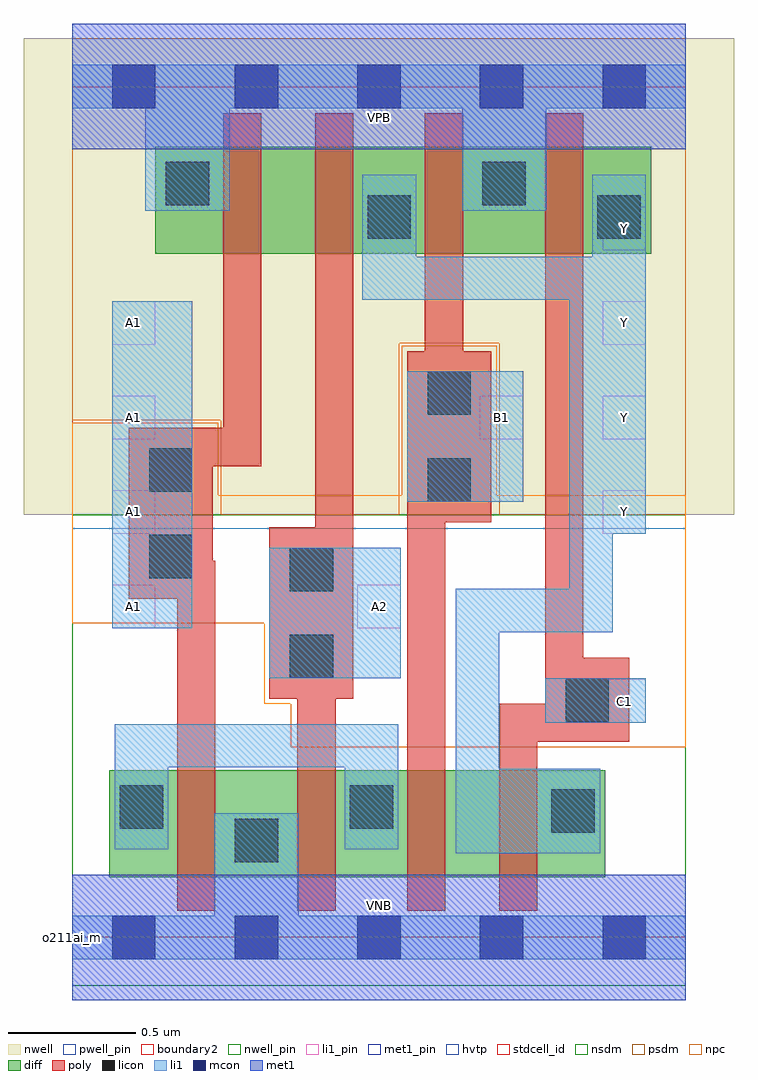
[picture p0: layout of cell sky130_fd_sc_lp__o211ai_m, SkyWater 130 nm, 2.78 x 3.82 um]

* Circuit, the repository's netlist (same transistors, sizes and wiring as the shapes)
* Copyright 2020 The SkyWater PDK Authors
*
* Licensed under the Apache License, Version 2.0 (the "License");
* you may not use this file except in compliance with the License.
* You may obtain a copy of the License at
*
*     https://www.apache.org/licenses/LICENSE-2.0
*
* Unless required by applicable law or agreed to in writing, software
* distributed under the License is distributed on an "AS IS" BASIS,
* WITHOUT WARRANTIES OR CONDITIONS OF ANY KIND, either express or implied.
* See the License for the specific language governing permissions and
* limitations under the License.
*
* SPDX-License-Identifier: Apache-2.0

.SUBCKT sky130_fd_sc_lp__o211ai_m A1 A2 B1 C1 VGND VNB VPB VPWR Y
*.PININFO A1:I A2:I B1:I C1:I VGND:I VNB:I VPB:I VPWR:I Y:O
MMPA0 VPWR A1 sndA1 VPB sky130_fd_pr__pfet_01v8_hvt m=1 w=0.42U l=0.15U mult=1
+ sa=0.265 sb=0.265 sd=0.28 area=0.063 perim=1.14
MMPA1 sndA1 A2 Y VPB sky130_fd_pr__pfet_01v8_hvt m=1 w=0.42U l=0.15U mult=1 sa=0.265
+ sb=0.265 sd=0.28 area=0.063 perim=1.14
MMPB0 VPWR B1 Y VPB sky130_fd_pr__pfet_01v8_hvt m=1 w=0.42U l=0.15U mult=1 sa=0.265
+ sb=0.265 sd=0.28 area=0.063 perim=1.14
MMPC0 VPWR C1 Y VPB sky130_fd_pr__pfet_01v8_hvt m=1 w=0.42U l=0.15U mult=1 sa=0.265
+ sb=0.265 sd=0.28 area=0.063 perim=1.14
MMNA0 pndA A1 VGND VNB sky130_fd_pr__nfet_01v8 m=1 w=0.42U l=0.15U mult=1 sa=0.265
+ sb=0.265 sd=0.28 area=0.063 perim=1.14
MMNA1 pndA A2 VGND VNB sky130_fd_pr__nfet_01v8 m=1 w=0.42U l=0.15U mult=1 sa=0.265
+ sb=0.265 sd=0.28 area=0.063 perim=1.14
MMNB0 pndB B1 pndA VNB sky130_fd_pr__nfet_01v8 m=1 w=0.42U l=0.15U mult=1 sa=0.265
+ sb=0.265 sd=0.28 area=0.063 perim=1.14
MMNC0 Y C1 pndB VNB sky130_fd_pr__nfet_01v8 m=1 w=0.42U l=0.15U mult=1 sa=0.265
+ sb=0.265 sd=0.28 area=0.063 perim=1.14
.ENDS sky130_fd_sc_lp__o211ai_m

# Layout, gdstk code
import gdstk
lib = gdstk.Library(unit=1e-6, precision=1e-09)
def R(c, l, rs):  # rectangles x0, y0, x1, y1
    for r in rs: c.add(gdstk.rectangle(r[:2], r[2:], *l))
def A(c, l, x, y, w, h, nx, ny, dx, dy):  # array of equal rectangles
    R(c, l, [(x+i*dx, y+j*dy, x+i*dx+w, y+j*dy+h) for i in range(nx) for j in range(ny)])
def P(c, l, *ps):  # polygons
    for p in ps: c.add(gdstk.Polygon(p, *l))
nwell_pin = (64, 16)
nwell = (64, 20)
diff = (65, 20)
poly = (66, 20)
licon = (66, 44)
li1_pin = (67, 16)
li1 = (67, 20)
mcon = (67, 44)
met1_pin = (68, 16)
met1 = (68, 20)
hvtp = (78, 44)
stdcell_id = (81, 4)
nsdm = (93, 44)
psdm = (94, 20)
npc = (95, 20)
pwell_pin = (122, 16)
boundary2 = (236, 0)

sky130_fd_sc_lp__o211ai_ = lib.new_cell('sky130_fd_sc_lp__o211ai_m')
R(sky130_fd_sc_lp__o211ai_, nwell_pin, [(0,3.085,2.4,3.33)])
R(sky130_fd_sc_lp__o211ai_, nwell, [(-0.19,1.655,2.59,3.52)])
R(sky130_fd_sc_lp__o211ai_, diff, [(0.145,0.235,2.085,0.655), (0.325,2.675,2.265,3.095)])
P(sky130_fd_sc_lp__o211ai_, poly, [(0.74,3.225),(0.59,3.225),(0.59,1.995),(0.22,1.995),(0.22,1.325),(0.41,1.325),(0.41,0.105),(0.56,0.105),(0.56,1.475),(0.55,1.475),(0.55,1.845),(0.74,1.845)],
  [(1.1,3.225),(0.95,3.225),(0.95,1.605),(0.77,1.605),(0.77,0.935),(0.88,0.935),(0.88,0.105),(1.03,0.105),(1.03,0.935),(1.1,0.935)],
  [(1.64,2.295),(1.53,2.295),(1.53,3.225),(1.38,3.225),(1.38,2.295),(1.31,2.295),(1.31,0.105),(1.46,0.105),(1.46,1.625),(1.64,1.625)],
  [(2.18,1.095),(2,1.095),(2,3.225),(1.85,3.225),(1.85,0.915),(1.67,0.915),(1.67,0.105),(1.82,0.105),(1.82,0.765),(2.18,0.765)])
R(sky130_fd_sc_lp__o211ai_, licon, [(0.635,0.295,0.805,0.465), (1.875,0.41,2.045,0.58), (0.185,0.425,0.355,0.595), (1.085,0.425,1.255,0.595), (1.93,0.845,2.1,1.015), (0.85,1.015,1.02,1.185), (0.85,1.355,1.02,1.525), (0.3,1.405,0.47,1.575), (1.39,1.705,1.56,1.875), (0.3,1.745,0.47,1.915), (1.39,2.045,1.56,2.215), (1.155,2.735,1.325,2.905), (2.055,2.735,2.225,2.905), (0.365,2.865,0.535,3.035), (1.605,2.865,1.775,3.035)])
A(sky130_fd_sc_lp__o211ai_, li1_pin, 0.155, 1.21, 0.17, 0.17, 1, 4, 0, 0.37)
A(sky130_fd_sc_lp__o211ai_, li1_pin, 2.075, 1.58, 0.17, 0.17, 1, 4, 0, 0.37)
R(sky130_fd_sc_lp__o211ai_, li1_pin, [(2.075,0.84,2.245,1.01), (1.115,1.21,1.285,1.38), (1.595,1.95,1.765,2.12)])
R(sky130_fd_sc_lp__o211ai_, li1, [(1.85,0.84,2.245,1.015), (0.77,1.015,1.285,1.525), (0.155,1.21,0.47,2.49), (1.31,1.705,1.765,2.215)])
P(sky130_fd_sc_lp__o211ai_, li1, [(0.285,2.845),(0.285,3.245),(0,3.245),(0,3.415),(2.4,3.415),(2.4,3.245),(1.855,3.245),(1.855,2.845),(1.525,2.845),(1.525,3.245),(0.615,3.245),(0.615,2.845)],
  [(0.555,0.085),(0.555,0.485),(0.885,0.485),(0.885,0.085),(2.4,0.085),(2.4,-0.085),(0,-0.085),(0,0.085)],
  [(2.035,2.665),(2.035,2.985),(2.245,2.985),(2.245,1.58),(2.115,1.58),(2.115,1.195),(1.67,1.195),(1.67,0.66),(2.065,0.66),(2.065,0.33),(1.5,0.33),(1.5,1.365),(1.945,1.365),(1.945,2.495),(1.135,2.495),(1.135,2.985),(1.345,2.985),(1.345,2.665)],
  [(1.065,0.665),(0.375,0.665),(0.375,0.345),(0.165,0.345),(0.165,0.835),(1.275,0.835),(1.275,0.345),(1.065,0.345)])
A(sky130_fd_sc_lp__o211ai_, mcon, 0.155, -0.085, 0.17, 0.17, 5, 2, 0.48, 3.33)
R(sky130_fd_sc_lp__o211ai_, met1_pin, [(0,0,2.4,0.245), (0,3.085,2.4,3.33)])
R(sky130_fd_sc_lp__o211ai_, met1, [(0,-0.245,2.4,0.245), (0,3.085,2.4,3.575)])
R(sky130_fd_sc_lp__o211ai_, hvtp, [(0,1.6,2.4,3.33)])
R(sky130_fd_sc_lp__o211ai_, stdcell_id, [(0,0,2.4,3.33)])
R(sky130_fd_sc_lp__o211ai_, nsdm, [(0,-0.19,2.4,1.655)])
P(sky130_fd_sc_lp__o211ai_, psdm, [(2.4,3.52),(0,3.52),(0,2.025),(0.58,2.025),(0.58,1.655),(1.28,1.655),(1.28,2.325),(1.67,2.325),(1.67,1.655),(2.4,1.655)])
P(sky130_fd_sc_lp__o211ai_, npc, [(2.4,1.73),(1.66,1.73),(1.66,2.315),(1.29,2.315),(1.29,1.73),(0.57,1.73),(0.57,2.015),(0,2.015),(0,1.23),(0.75,1.23),(0.75,0.915),(0.855,0.915),(0.855,0.745),(2.4,0.745)])
R(sky130_fd_sc_lp__o211ai_, pwell_pin, [(0,0,2.4,0.245)])
R(sky130_fd_sc_lp__o211ai_, boundary2, [(0,0,2.4,3.33)])
sky130_fd_sc_lp__o211ai_.add(gdstk.Label('VNB', (1.2,0.123), layer=64, texttype=59))
sky130_fd_sc_lp__o211ai_.add(gdstk.Label('VPB', (1.2,3.208), layer=64, texttype=5))
sky130_fd_sc_lp__o211ai_.add(gdstk.Label('o211ai_m', (0,0), layer=83, texttype=44))
sky130_fd_sc_lp__o211ai_.add(gdstk.Label('VPWR', (1.2,3.208), layer=68, texttype=5))
sky130_fd_sc_lp__o211ai_.add(gdstk.Label('VGND', (1.2,0.123), layer=68, texttype=5))
sky130_fd_sc_lp__o211ai_.add(gdstk.Label('A2', (1.2,1.295), layer=67, texttype=5))
sky130_fd_sc_lp__o211ai_.add(gdstk.Label('Y', (2.16,1.665), layer=67, texttype=5))
sky130_fd_sc_lp__o211ai_.add(gdstk.Label('Y', (2.16,2.035), layer=67, texttype=5))
sky130_fd_sc_lp__o211ai_.add(gdstk.Label('Y', (2.16,2.405), layer=67, texttype=5))
sky130_fd_sc_lp__o211ai_.add(gdstk.Label('Y', (2.16,2.775), layer=67, texttype=5))
sky130_fd_sc_lp__o211ai_.add(gdstk.Label('C1', (2.16,0.925), layer=67, texttype=5))
sky130_fd_sc_lp__o211ai_.add(gdstk.Label('A1', (0.24,1.295), layer=67, texttype=5))
sky130_fd_sc_lp__o211ai_.add(gdstk.Label('A1', (0.24,1.665), layer=67, texttype=5))
sky130_fd_sc_lp__o211ai_.add(gdstk.Label('A1', (0.24,2.035), layer=67, texttype=5))
sky130_fd_sc_lp__o211ai_.add(gdstk.Label('A1', (0.24,2.405), layer=67, texttype=5))
sky130_fd_sc_lp__o211ai_.add(gdstk.Label('B1', (1.68,2.035), layer=67, texttype=5))

lib.write_gds('sky130_fd_sc_lp__o211ai_m.gds')
